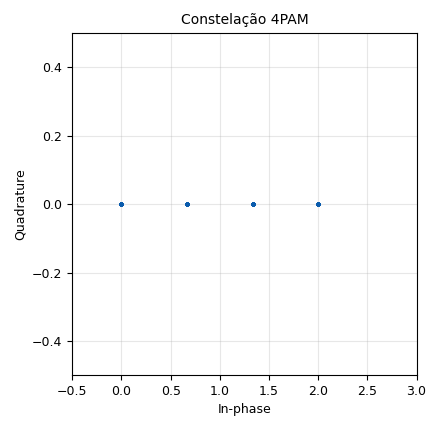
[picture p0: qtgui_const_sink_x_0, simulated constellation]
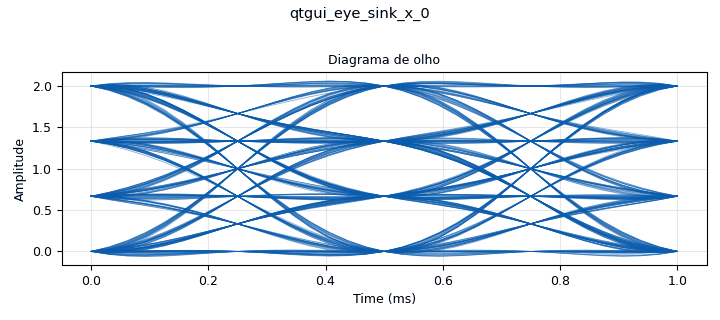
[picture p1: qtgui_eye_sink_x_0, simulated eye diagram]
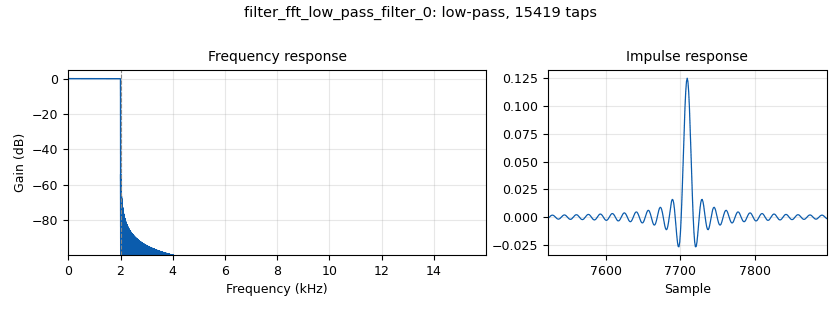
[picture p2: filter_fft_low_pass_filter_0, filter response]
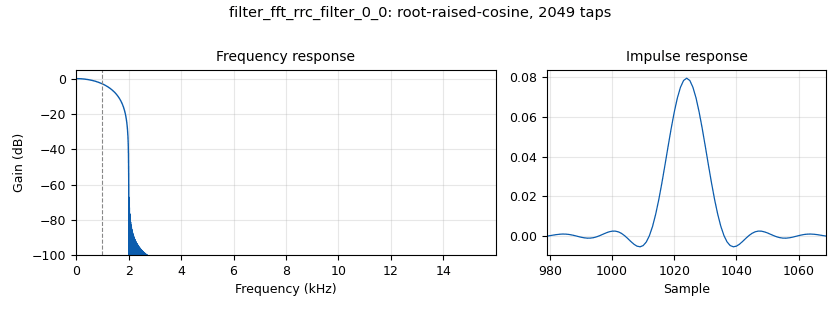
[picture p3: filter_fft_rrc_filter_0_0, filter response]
options:
  parameters:
    generate_options: qt_gui
    id: PAM4
    output_language: python
    title: Not titled yet
  states: {}

blocks:
- name: Constellation_pam
  id: variable_constellation
  parameters:
    const_points: '[0,1,3,2]'
    dims: '1'
    normalization: digital.constellation.AMPLITUDE_NORMALIZATION
    npwr: '0'
    precision: '8'
    rot_sym: '0'
    sym_map: '[0, 1, 3, 2]'
    type: calcdist
  states: {}
- name: CutFreq
  id: variable_qtgui_range
  parameters:
    label: CutFreq
    min_len: '101'
    rangeType: int
    start: '1'
    step: '10'
    stop: '2000'
    value: '2000'
  states: {}
- name: Noise
  id: variable_qtgui_range
  parameters:
    label: Noise
    start: '0'
    step: '0.01'
    stop: '2'
    value: '0'
  states: {}
- name: SamplesPerSymbol
  id: variable
  parameters:
    value: '16'
  states: {}
- name: delay
  id: variable_qtgui_range
  parameters:
    label: delay
    rangeType: int
    start: '0'
    step: '1'
    stop: SamplesPerSymbol
    value: '0'
  states: {}
- name: numTaps
  id: variable
  parameters:
    value: '45'
  states: {}
- name: rolloff
  id: variable
  parameters:
    value: '1'
  states: {}
- name: samp_rate
  id: variable
  parameters:
    value: '32000'
  states: {}
- name: analog_random_source_x_0
  id: analog_random_source_x
  parameters:
    max: '256'
    min: '0'
    num_samps: '40000'
    repeat: 'True'
    type: byte
  states: {}
- name: blocks_complex_to_float_0
  id: blocks_complex_to_float
  parameters: {}
  states: {}
- name: blocks_delay_0
  id: blocks_delay
  parameters:
    delay: delay
    type: float
  states: {}
- name: blocks_float_to_complex_0
  id: blocks_float_to_complex
  parameters: {}
  states: {}
- name: digital_constellation_modulator_0
  id: digital_constellation_modulator
  parameters:
    constellation: Constellation_pam
    differential: 'False'
    excess_bw: rolloff
    samples_per_symbol: SamplesPerSymbol
  states: {}
- name: filter_fft_low_pass_filter_0
  id: filter_fft_low_pass_filter
  parameters:
    cutoff_freq: CutFreq
    decim: '1'
    gain: '1'
    samp_rate: samp_rate
    type: fff
    width: '5'
    win: window.WIN_HAMMING
  states: {}
- name: filter_fft_rrc_filter_0_0
  id: filter_fft_rrc_filter
  parameters:
    alpha: rolloff
    decim: '1'
    gain: '1'
    ntaps: '2048'
    samp_rate: samp_rate
    sym_rate: samp_rate//SamplesPerSymbol
    type: fff
  states: {}
- name: fir_filter_xxx_0_0
  id: fir_filter_xxx
  parameters:
    decim: SamplesPerSymbol
    taps: '[1,0]'
    type: fff
  states: {}
- name: qtgui_const_sink_x_0
  id: qtgui_const_sink_x
  parameters:
    grid: 'True'
    gui_hint: 2,3,2,3
    legend: 'False'
    name: Constelação 4PAM
    size: '1024'
    type: complex
    xmax: '3'
    xmin: '-0.5'
    ymax: '0.5'
    ymin: '-0.5'
  states: {}
- name: qtgui_eye_sink_x_0
  id: qtgui_eye_sink_x
  parameters:
    autoscale: 'True'
    color1: dark blue
    entags: 'False'
    grid: 'True'
    gui_hint: 0,3,2,3
    label1: Diagrama de olho
    samp_per_symbol: SamplesPerSymbol
    size: 1024*16
    srate: samp_rate
    style1: '3'
    type: float
    ymax: '2'
    ymin: '-2'
    yunit: t
  states: {}
- name: qtgui_eye_sink_x_0_0
  id: qtgui_eye_sink_x
  parameters:
    autoscale: 'True'
    color1: dark blue
    entags: 'False'
    grid: 'True'
    gui_hint: 2,0,2,3
    label1: Diagrama de olho
    samp_per_symbol: SamplesPerSymbol
    size: 1024*16
    srate: samp_rate
    style1: '3'
    type: float
    update_time: '0.5'
    ymax: '2'
    ymin: '-2'
    yunit: t
  states: {}
- name: qtgui_freq_sink_x_1
  id: qtgui_freq_sink_x
  parameters:
    average: '0.2'
    bw: samp_rate
    color2: '"black"'
    fc: '0'
    fftsize: '1024'
    grid: 'True'
    gui_hint: 0,0,2,3
    label: Ganho
    label1: Transmitido
    label2: Transmitido +rúido
    nconnections: '2'
    type: float
    update_time: '0.1'
    width1: '2'
    width2: '2'
  states: {}

connections:
- [analog_random_source_x_0, '0', digital_constellation_modulator_0, '0']
- [blocks_complex_to_float_0, '0', filter_fft_rrc_filter_0_0, '0']
- [blocks_complex_to_float_0, '0', qtgui_freq_sink_x_1, '0']
- [blocks_delay_0, '0', fir_filter_xxx_0_0, '0']
- [blocks_float_to_complex_0, '0', qtgui_const_sink_x_0, '0']
- [digital_constellation_modulator_0, '0', blocks_complex_to_float_0, '0']
- [filter_fft_low_pass_filter_0, '0', qtgui_eye_sink_x_0_0, '0']
- [filter_fft_low_pass_filter_0, '0', qtgui_freq_sink_x_1, '1']
- [filter_fft_rrc_filter_0_0, '0', blocks_delay_0, '0']
- [filter_fft_rrc_filter_0_0, '0', filter_fft_low_pass_filter_0, '0']
- [filter_fft_rrc_filter_0_0, '0', qtgui_eye_sink_x_0, '0']
- [fir_filter_xxx_0_0, '0', blocks_float_to_complex_0, '0']

metadata:
  file_format: 1
  grc_version: 3.10.9.2
